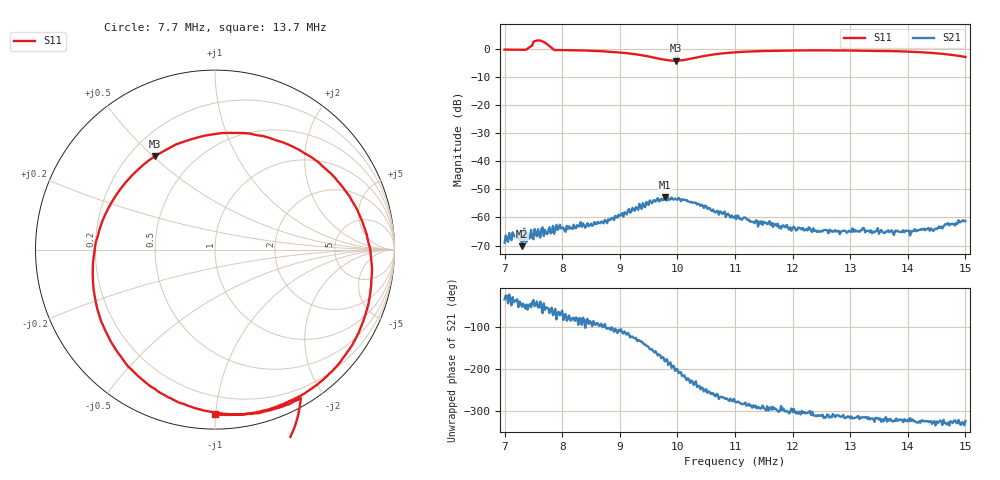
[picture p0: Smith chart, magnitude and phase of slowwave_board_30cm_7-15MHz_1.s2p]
! Measured S11/S21; S12/S22 are placeholders, NOT measurements. Calibration unverified.
! [Saver CAL applied] C:\Users\aknya\MyProjects\rf-simulator\calibration2.cal | Ideal standards assumed | Input: NanoVNA F V2 profile | COM3 | 2026-10-04T10:25:36.6035451-04:00 | device calibration unverified
# HZ S RI R 50
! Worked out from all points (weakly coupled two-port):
!   401 points, 7 MHz to 15 MHz, reference 50 ohm
!   highest |S21| = -52.85 dB at 9.78 MHz (marker M1); lowest = -70.2 dB at 7.3 MHz (marker M2)
!   lowest |S11| = -4.2 dB at 9.98 MHz (marker M3), VSWR 4.24, Z = 15.1 + j25.5 ohm
!   |S11| at or under -10 dB: nowhere
!   S12 and S22 are empty: the file has one direction only
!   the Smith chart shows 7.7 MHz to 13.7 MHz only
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7000000  0.7506 -0.6187  0.000291 -0.0002  0 0  0 0
7300000  0.67 -0.7002  0.000189 -0.000243  0 0  0 0
7440000  0.8386 -0.6973  0.000299 -0.00031  0 0  0 0
7540000  -0.5056 -1.298  0.000344 -0.000393  0 0  0 0
7640000  -0.0201 -1.391  0.000386 -0.000499  0 0  0 0
7720000  0.2954 -1.222  0.00031 -0.00042  0 0  0 0
7800000  0.4451 -0.9853  0.000275 -0.000442  0 0  0 0
7900000  0.4625 -0.8372  0.0001 -0.000728  0 0  0 0
8340000  0.2452 -0.9107  -6.16e-05 -0.00068  0 0  0 0
9120000  -0.357 -0.7636  -0.000539 -0.000991  0 0  0 0
9400000  -0.5955 -0.4818  -0.00134 -0.00121  0 0  0 0
9680000  -0.67 -0.00145  -0.00187 -0.000478  0 0  0 0
9780000  -0.6117 0.1947  -0.00228 8.46e-05  0 0  0 0
9980000  -0.3322 0.5214  -0.00198 0.000745  0 0  0 0
1.02e7  0.1135 0.6499  -0.00137 0.00134  0 0  0 0
1.05e7  0.6007 0.4632  -0.000583 0.00149  0 0  0 0
1.1e7  0.8704 -0.0519  0.000149 0.00105  0 0  0 0
1.16e7  0.7942 -0.4729  0.000342 0.000787  0 0  0 0
1.234e7  0.5629 -0.7565  0.00029 0.000469  0 0  0 0
1.368e7  0.00923 -0.9172  0.000435 0.000328  0 0  0 0
1.442e7  -0.403 -0.7483  0.00054 0.000302  0 0  0 0
1.5e7  -0.664 -0.2769  0.000703 0.000513  0 0  0 0
